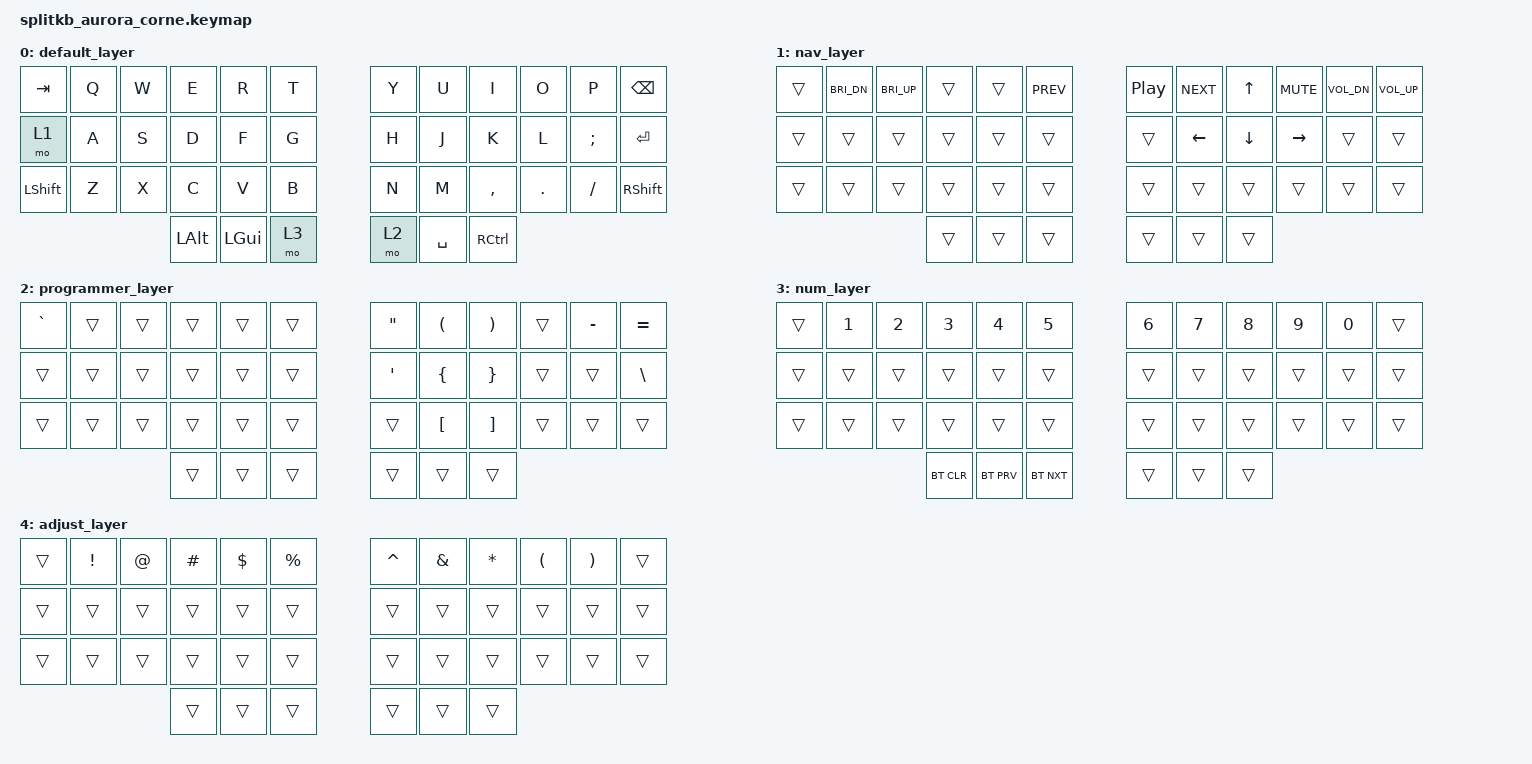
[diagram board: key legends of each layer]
/*
 * Copyright (c) 2020 The ZMK Contributors
 *
 * SPDX-License-Identifier: MIT
 */

#include <behaviors.dtsi>
#include <dt-bindings/zmk/keys.h>
#include <dt-bindings/zmk/bt.h>

/ {
        combos {
                compatible = "zmk,combos";
                combo_esc {
                timeout-ms = <50>;
                key-positions = <0 1>;
                bindings = <&kp ESC>;
                };
                
                combo_adjust {
                timeout-ms = <50>;
                key-positions = <38 40>;
                bindings = <&mo 4>;
                };
        };

        keymap {
                compatible = "zmk,keymap";

                default_layer {
                        bindings = <
                        &kp TAB    &kp Q      &kp W     &kp E     &kp R      &kp T      &kp Y      &kp U      &kp I       &kp O       &kp P       &kp BKSP
                        &mo 1      &kp A      &kp S     &kp D     &kp F      &kp G      &kp H      &kp J      &kp K       &kp L       &kp SEMI    &kp RET
                        &kp LSHFT  &kp Z      &kp X     &kp C     &kp V      &kp B      &kp N      &kp M      &kp CMMA    &kp DOT     &kp SLASH   &kp RSHFT 
                                                          &kp LALT  &kp LGUI  &mo 3    &mo 2   &kp SPACE    &kp RCTRL
                        >;
                };

                        nav_layer {
                        bindings = <    
                        &trans      &kp C_BRI_DN &kp C_BRI_UP &trans    &trans     &kp C_PREV &kp C_PP   &kp C_NEXT &kp UP   &kp C_MUTE  &kp C_VOL_DN &kp C_VOL_UP
                        &trans      &trans       &trans       &trans    &trans     &trans     &trans     &kp LEFT   &kp DOWN &kp RIGHT   &trans       &trans
                        &trans      &trans       &trans       &trans    &trans     &trans     &trans     &trans     &trans   &trans      &trans       &trans
                                                          &trans     &trans    &trans   &trans     &trans    &trans
                        >;
                };

                        programmer_layer {
                        bindings = <
                        &kp GRAVE   &trans     &trans    &trans    &trans     &trans     &kp DQT    &kp LPAR   &kp RPAR    &trans      &kp MINUS   &kp EQUAL
                        &trans      &trans     &trans    &trans    &trans     &trans     &kp SQT    &kp LBRC   &kp RBRC    &trans      &trans      &kp BSLH
                        &trans      &trans     &trans    &trans    &trans     &trans     &trans     &kp LBKT   &kp RBKT    &trans      &trans      &trans
                                                          &trans      &trans     &trans        &trans     &trans      &trans
                        >;
                };

                        num_layer {
                        bindings = <
                        &trans      &kp N1     &kp N2    &kp N3    &kp N4     &kp N5     &kp N6     &kp N7     &kp N8      &kp N9      &kp N0      &trans
                        &trans      &trans     &trans    &trans    &trans     &trans     &trans     &trans     &trans      &trans      &trans      &trans
                        &trans      &trans     &trans    &trans    &trans     &trans     &trans     &trans     &trans      &trans      &trans      &trans
                                                          &bt BT_CLR  &bt BT_PRV   &bt BT_NXT        &trans     &trans      &trans
                        >;
                };
                        
                        adjust_layer {
                        bindings = <
                        &trans      &kp EXCL   &kp AT    &kp HASH  &kp DLLR   &kp PRCNT  &kp CARET  &kp AMPS   &kp ASTRK   &kp LPAR    &kp RPAR    &trans
                        &trans      &trans     &trans    &trans    &trans     &trans     &trans     &trans     &trans      &trans      &trans      &trans
                        &trans      &trans     &trans    &trans    &trans     &trans     &trans     &trans     &trans      &trans      &trans      &trans
                                                          &trans      &trans     &trans        &trans     &trans      &trans
                        >;
                };

                
        };
};
